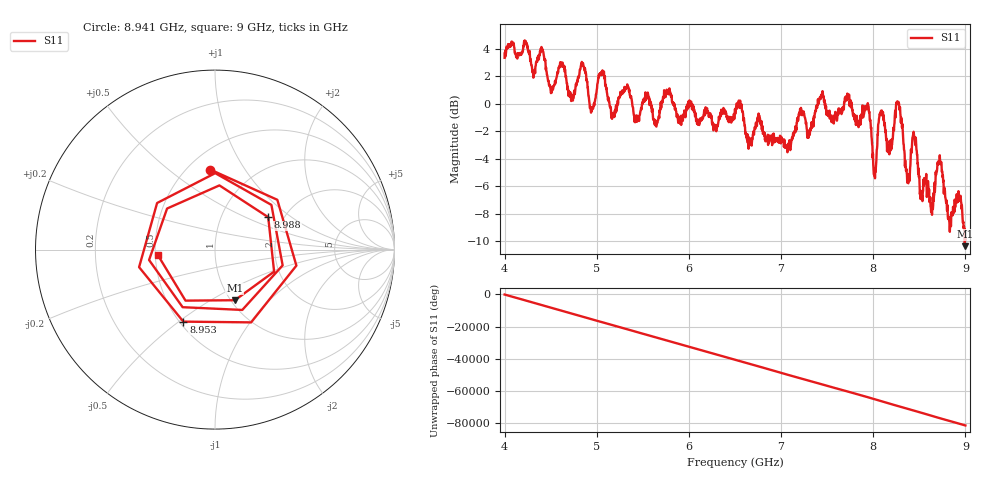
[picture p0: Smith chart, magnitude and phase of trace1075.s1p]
! Created with skrf 1.8.0 (http://scikit-rf.org).
# Hz S RI R 50.0
!freq ReS11 ImS11
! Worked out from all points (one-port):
!   1601 points, 4 GHz to 9 GHz, reference 50 ohm
!   lowest |S11| = -10.4 dB at 8.994 GHz (marker M1), VSWR 1.87, Z = 52.2 - j32.4 ohm
!   |S11| at or under -10 dB: 8.993135 GHz to 8.995594 GHz (2.459 MHz wide, 0.0273 % of centre)
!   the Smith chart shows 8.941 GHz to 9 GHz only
!   S11 on the Smith chart (normalised r, x): 8.941 GHz: 0.64, +0.71; 8.953 GHz: 0.52, -0.52; 8.988 GHz: 1.67, +0.68; 9 GHz: 0.52, -0.03
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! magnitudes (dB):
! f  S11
! 4 GHz  3.3
! 4.625 GHz  2.7
! 4.728 GHz  0.4
! 4.856 GHz  2.8
! 4.947 GHz  -0.5
! 5.053 GHz  2.1
! 5.166 GHz  -1.1
! 5.25 GHz  0.5
! 5.875 GHz  -0.8
! 6.5 GHz  -0.4
! 7.125 GHz  -2.5
! 7.75 GHz  0.0
! 7.938 GHz  -0.1
! 8.016 GHz  -4.8
! 8.081 GHz  -0.7
! 8.172 GHz  -3.3
! 8.272 GHz  0.1
! 8.375 GHz  -5.2
! 8.444 GHz  -2.4
! 8.525 GHz  -6.9
! 8.638 GHz  -8.1
! 8.719 GHz  -4.2
! 8.825 GHz  -8.5
! 8.941 GHz  -7.0
! 8.953 GHz  -7.2
! 8.988 GHz  -9.2
! 8.994 GHz  -10.4
! 9 GHz  -9.9
